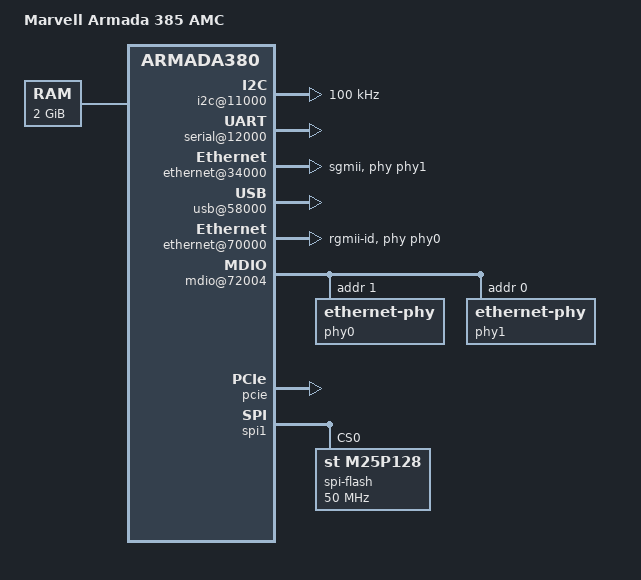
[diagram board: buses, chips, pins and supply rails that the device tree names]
/*
 * Device Tree file for Marvell Armada 385 development board
 * (DB-88F6820-AMC)
 *
 * Copyright (C) 2014 Marvell
 *
 * Gregory CLEMENT <gregory.clement@free-electrons.com>
 *
 * This file is dual-licensed: you can use it either under the terms
 * of the GPL or the X11 license, at your option. Note that this dual
 * licensing only applies to this file, and not this project as a
 * whole.
 *
 *  a) This file is licensed under the terms of the GNU General Public
 *     License version 2.  This program is licensed "as is" without
 *     any warranty of any kind, whether express or implied.
 *
 * Or, alternatively,
 *
 *  b) Permission is hereby granted, free of charge, to any person
 *     obtaining a copy of this software and associated documentation
 *     files (the "Software"), to deal in the Software without
 *     restriction, including without limitation the rights to use,
 *     copy, modify, merge, publish, distribute, sublicense, and/or
 *     sell copies of the Software, and to permit persons to whom the
 *     Software is furnished to do so, subject to the following
 *     conditions:
 *
 *     The above copyright notice and this permission notice shall be
 *     included in all copies or substantial portions of the Software.
 *
 *     THE SOFTWARE IS PROVIDED "AS IS", WITHOUT WARRANTY OF ANY KIND,
 *     EXPRESS OR IMPLIED, INCLUDING BUT NOT LIMITED TO THE WARRANTIES
 *     OF MERCHANTABILITY, FITNESS FOR A PARTICULAR PURPOSE AND
 *     NONINFRINGEMENT. IN NO EVENT SHALL THE AUTHORS OR COPYRIGHT
 *     HOLDERS BE LIABLE FOR ANY CLAIM, DAMAGES OR OTHER LIABILITY,
 *     WHETHER IN AN ACTION OF CONTRACT, TORT OR OTHERWISE, ARISING
 *     FROM, OUT OF OR IN CONNECTION WITH THE SOFTWARE OR THE USE OR
 *     OTHER DEALINGS IN THE SOFTWARE.
 */

/dts-v1/;
#include "armada-385.dtsi"
#include <dt-bindings/gpio/gpio.h>

/ {
	model = "Marvell Armada 385 AMC";
	compatible = "marvell,a385-amc", "marvell,armada385", "marvell,armada380";

	chosen {
		stdout-path = "serial0:115200n8";
	};

	aliases {
		ethernet0 = &eth0;
		ethernet1 = &eth2;
		i2c0 = &i2c0;
		spi1 = &spi1;
	};

	memory {
		device_type = "memory";
		reg = <0x00000000 0x80000000>; /* 2 GB */
	};

	soc {
		ranges = <MBUS_ID(0xf0, 0x01) 0 0xf1000000 0x100000
			  MBUS_ID(0x01, 0x1d) 0 0xfff00000 0x100000>;

		internal-regs {
			i2c@11000 {
				clock-frequency = <100000>;
				u-boot,i2c-slave-addr = <0x0>;
				pinctrl-names = "default";
				pinctrl-0 = <&i2c0_pins>;
				status = "okay";
			};

			serial@12000 {
				/*
				 * Exported on the micro USB connector CON16
				 * through an FTDI
				 */

				pinctrl-names = "default";
				pinctrl-0 = <&uart0_pins>;
				status = "okay";
				u-boot,dm-pre-reloc;
			};

			ethernet@34000 {
				status = "okay";
				phy = <&phy1>;
				phy-mode = "sgmii";
			};

			usb@58000 {
				status = "okay";
			};

			ethernet@70000 {
				pinctrl-names = "default";
				/*
				 * The Reference Clock 0 is used to provide a
				 * clock to the PHY
				 */
				pinctrl-0 = <&ge0_rgmii_pins>, <&ref_clk0_pins>;
				status = "okay";
				phy = <&phy0>;
				phy-mode = "rgmii-id";
			};


			mdio@72004 {
				pinctrl-names = "default";
				pinctrl-0 = <&mdio_pins>;

				phy0: ethernet-phy@1 {
					reg = <1>;
				};

				phy1: ethernet-phy@0 {
					reg = <0>;
				};
			};

			flash@d0000 {
				status = "okay";
				num-cs = <1>;
				marvell,nand-keep-config;
				marvell,nand-enable-arbiter;
				nand-on-flash-bbt;
			};
		};

		pcie {
			status = "okay";
			pcie@1,0 {
				/* Port 0, Lane 0 */
				status = "okay";
			};

		};
	};
};

&spi1 {
	pinctrl-names = "default";
	pinctrl-0 = <&spi1_pins>;
	status = "okay";
	u-boot,dm-pre-reloc;

	spi-flash@0 {
		u-boot,dm-pre-reloc;
		#address-cells = <1>;
		#size-cells = <1>;
		compatible = "st,m25p128", "jedec,spi-nor", "spi-flash";
		reg = <0>; /* Chip select 0 */
		spi-max-frequency = <50000000>;
		m25p,fast-read;
	};
};

&refclk {
	clock-frequency = <20000000>;
};
